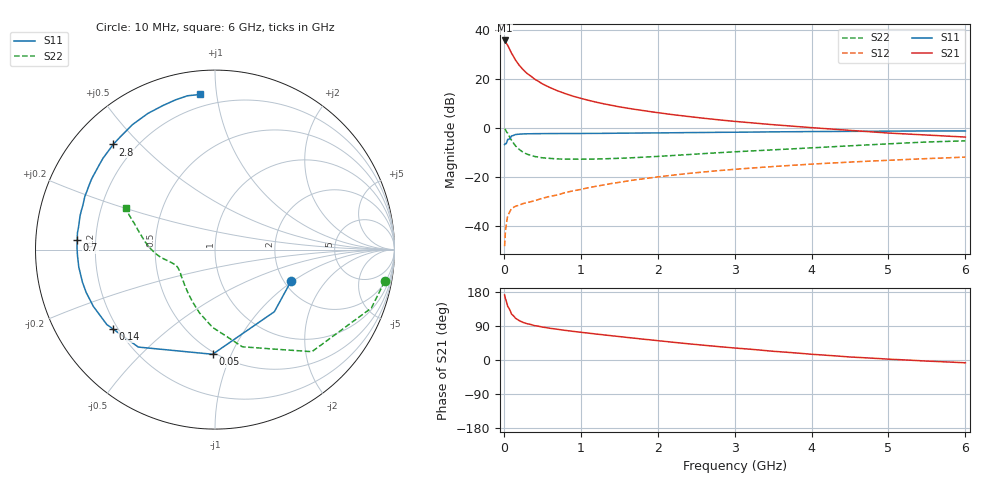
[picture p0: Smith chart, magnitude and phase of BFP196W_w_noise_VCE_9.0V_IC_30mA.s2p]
! Infineon Technologies  Discrete & RF Semiconductors
! BFP196W
! VCE =  9.0 V,  IC =  30 mA
! Common Emitter S-Parameters:  Jan 2017
# GHz  S  MA  R  50
!  f  S11  S21  S12  S22
! GHz  MAG  ANG  MAG  ANG  MAG  ANG  MAG  ANG
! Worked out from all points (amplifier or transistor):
!   77 points, 10 MHz to 6 GHz, reference 50 ohm
!   highest |S21| = 35.9 dB at 10 MHz (marker M1)
!   |S21| within 3 dB of that: start of sweep to 66.14 MHz
!   unconditionally stable (mu >= 1): 881.8 MHz to 3.216 GHz
!   at 130 MHz: K = 0.30, MSG = 30.7 dB, |S12| = -32.4 dB
!   at 2.2 GHz: K = 1.05, MAG = 11.0 dB, |S12| = -19.3 dB
!   at 6 GHz: K = 0.91, MSG = 4.1 dB, |S12| = -11.9 dB
!   lowest NFmin = 1.13 dB at 450 MHz
!   S11 on the Smith chart (normalised r, x): 10 MHz: 2.16, -0.97; 50 MHz: 0.48, -0.85; 140 MHz: 0.18, -0.33; 700 MHz: 0.13, +0.03; 2.8 GHz: 0.12, +0.42; 6 GHz: 0.13, +0.90
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0.01  0.4584 -22.8  62.04 171.6  0.0038 78.3  0.962 -10.6
0.02  0.4787 -46.3  59.59 162.5  0.0073 74.5  0.9301 -20.5
0.05  0.5833 -91.3  49.44 141.6  0.0158 57.7  0.7842 -46.5
0.1  0.691 -128.2  34.02 121.1  0.0225 44.0  0.5631 -74.2
0.14  0.7199 -142.1  26.6 113.2  0.0244 38.9  0.4554 -87.5
0.15  0.7333 -145.3  24.85 110.5  0.0249 37.7  0.4335 -91.8
0.2  0.748 -155.0  19.27 103.9  0.0263 36.8  0.3638 -103.6
0.25  0.7564 -161.6  15.68 99.2  0.0283 37.7  0.3191 -112.7
0.3  0.7605 -166.2  13.18 95.9  0.0296 39.6  0.2916 -119.8
0.4  0.7651 -172.7  10.02 90.7  0.0323 42.5  0.2612 -130.2
0.5  0.7668 -177.3  8.034 87.0  0.0363 44.9  0.2454 -137.1
0.6  0.769 179.1  6.726 83.7  0.0398 47.5  0.2386 -142.4
0.7  0.7695 176.1  5.76 81.0  0.0426 50.6  0.2323 -146.1
0.9  0.7705 170.6  4.483 75.6  0.0516 53.7  0.23 -151.1
1.1  0.775 166.0  3.689 70.9  0.0599 55.5  0.2307 -154.5
1.5  0.7833 157.8  2.717 61.9  0.0771 56.8  0.2394 -159.8
2.1  0.7956 146.0  1.965 49.0  0.1039 55.4  0.2675 -166.2
2.8  0.8156 134.1  1.468 35.2  0.1343 51.5  0.3119 -173.0
3.1  0.821 129.5  1.324 30.1  0.1463 49.4  0.3313 -176.2
4.1  0.8465 115.0  0.991 13.8  0.1856 42.1  0.3995 172.2
5.1  0.8637 104.0  0.773 1.3  0.2217 34.6  0.4823 161.1
6  0.8683 95.5  0.652 -7.4  0.2532 27.7  0.5456 154.8
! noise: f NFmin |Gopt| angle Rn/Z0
0.45  1.13  0.45  178  0.05
0.9  1.29  0.52  -176  0.06
1.9  2.14  0.68  -151  0.13
2.4  2.54  0.73  -146  0.22
